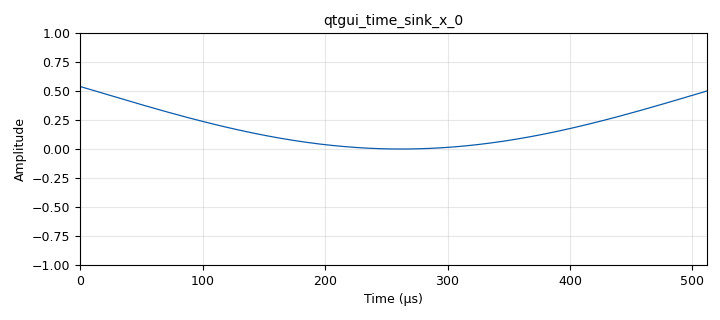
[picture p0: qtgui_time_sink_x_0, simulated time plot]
options:
  parameters:
    generate_options: qt_gui
    id: hackRF_tx
    output_language: python
    title: Not titled yet
  states: {}

blocks:
- name: center_freq
  id: variable
  parameters:
    value: 435e6
  states: {}
- name: freq
  id: variable_qtgui_range
  parameters:
    start: '-10e3'
    step: 1e3
    stop: 10e3
    value: 1e3
  states: {}
- name: samp_rate
  id: variable
  parameters:
    value: 2e6
  states: {}
- name: analog_const_source_x_0_0
  id: analog_const_source_x
  parameters:
    const: '0'
    type: float
  states: {}
- name: analog_const_source_x_0_0_0
  id: analog_const_source_x
  parameters:
    const: '0.5'
    type: float
  states: {}
- name: analog_sig_source_x_0
  id: analog_sig_source_x
  parameters:
    amp: '0.5'
    freq: freq
    offset: '0'
    phase: '0'
    samp_rate: samp_rate
    type: float
    waveform: analog.GR_SIN_WAVE
  states: {}
- name: analog_sig_source_x_1
  id: analog_sig_source_x
  parameters:
    amp: '1'
    freq: '100'
    offset: '0'
    phase: '0'
    samp_rate: samp_rate
    type: complex
    waveform: analog.GR_SAW_WAVE
  states: {}
- name: blocks_add_xx_0
  id: blocks_add_xx
  parameters:
    type: float
  states: {}
- name: blocks_float_to_complex_0
  id: blocks_float_to_complex
  parameters: {}
  states: {}
- name: blocks_vco_f_0
  id: blocks_vco_f
  parameters:
    amplitude: '0.5'
    samp_rate: samp_rate
  states: {}
- name: qtgui_time_sink_x_0
  id: qtgui_time_sink_x
  parameters:
    size: '1024'
    srate: samp_rate
    type: float
  states: {}
- name: soapy_hackrf_sink_0
  id: soapy_hackrf_sink
  parameters:
    center_freq: center_freq
    samp_rate: samp_rate
    type: fc32
  states: {}

connections:
- [analog_const_source_x_0_0, '0', blocks_float_to_complex_0, '1']
- [analog_const_source_x_0_0_0, '0', blocks_add_xx_0, '0']
- [analog_sig_source_x_0, '0', blocks_add_xx_0, '1']
- [blocks_add_xx_0, '0', blocks_float_to_complex_0, '0']
- [blocks_add_xx_0, '0', qtgui_time_sink_x_0, '0']
- [blocks_float_to_complex_0, '0', soapy_hackrf_sink_0, '0']

metadata:
  file_format: 1
  grc_version: 3.10.7.0
